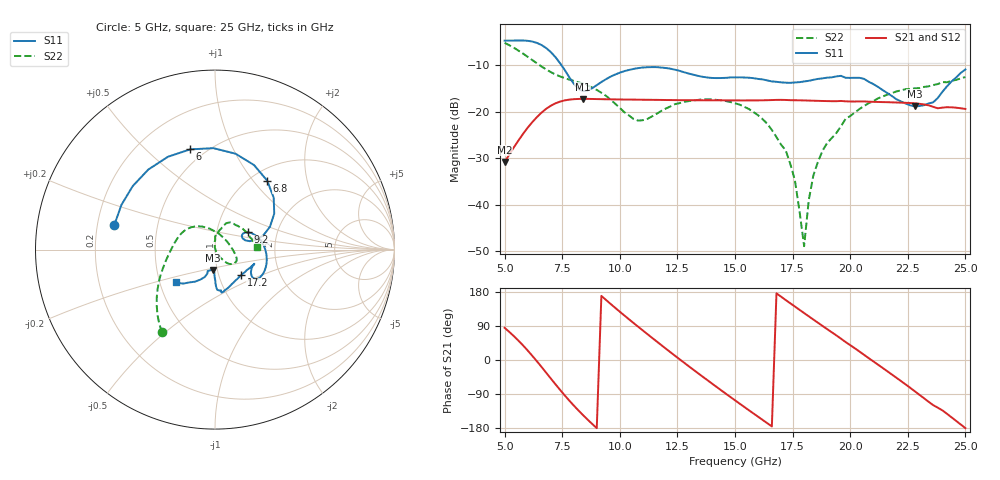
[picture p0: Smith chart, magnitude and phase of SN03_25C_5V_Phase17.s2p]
!File name = SN03_25C_5V_Phase17.s2p
!Date = 2/3/2014
!Time = 2:35 PM
!Test duration(min) = 0.07
!Test = SPars
!MPTS version = 7.120.8
!Comments =
!set_LD1(binary) = 17
!set_LD2(binary) = 524270
!test = SPars
!date_code = 20140203
!file_name = SN03_25C_5V_Phase17.s2p
!VREF(V) = 5.000
!VREF(mA) = 0.001
# GHz  S  DB  R  50
!%	Freq(GHz)  S11(dB)  S11(deg)  S21(dB)  S21(deg)  S12(dB)  S12(deg)  S22(dB)  S22(deg)
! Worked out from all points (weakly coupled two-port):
!   101 points, 5 GHz to 25 GHz, reference 50 ohm
!   highest |S21| = -17.27 dB at 8.4 GHz (marker M1); lowest = -30.9 dB at 5 GHz (marker M2)
!   lowest |S11| = -18.9 dB at 22.8 GHz (marker M3), VSWR 1.26, Z = 47.6 - j10.9 ohm
!   |S11| at or under -10 dB: 7.461 GHz to end of sweep
!   |S22| runs from -48.9 to -5.2 dB; largest |S21 - S12| = 0.00051
!   S11 on the Smith chart (normalised r, x): 5 GHz: 0.27, +0.11; 6 GHz: 0.42, +0.69; 6.8 GHz: 1.18, +1.18; 9.2 GHz: 1.42, +0.29; 17.2 GHz: 1.28, -0.38; 25 GHz: 0.61, -0.24
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5  -4.77 166.1  -30.85 84.9  -30.87 84.9  -5.24 -122.7
6  -4.80 104.0  -23.48 25.1  -23.49 25.1  -8.23 -145.5
6.8  -6.34 52.9  -19.42 -33.3  -19.45 -33.2  -10.94 -166.4
7.6  -11.00 16.5  -17.61 -92.7  -17.63 -92.6  -12.80 171.0
8.4  -15.61 22.5  -17.27 -145.2  -17.30 -145.1  -14.01 147.5
9.2  -13.65 27.6  -17.34 169.2  -17.36 169.3  -15.95 125.6
10.8  -10.66 -10.0  -17.45 87.7  -17.46 87.7  -21.94 47.9
11.8  -10.55 -29.7  -17.50 39.4  -17.52 39.4  -19.87 -2.7
13.6  -12.54 -32.1  -17.57 -44.1  -17.58 -44.2  -17.36 -26.7
15  -12.67 -20.0  -17.60 -106.3  -17.61 -106.4  -18.22 -40.6
16.2  -13.10 -26.6  -17.58 -158.2  -17.60 -158.1  -21.64 -50.9
17.2  -13.79 -44.2  -17.51 158.2  -17.53 158.3  -28.32 -55.2
17.6  -13.75 -52.5  -17.57 141.1  -17.58 141.1  -34.77 -60.8
18  -13.53 -60.5  -17.61 123.9  -17.63 123.9  -48.92 51.4
18.2  -13.39 -64.2  -17.64 115.3  -17.66 115.4  -39.08 96.4
18.4  -13.18 -67.5  -17.67 106.8  -17.69 106.8  -33.74 93.7
18.8  -12.86 -72.7  -17.73 89.9  -17.74 89.9  -28.40 91.4
19.8  -12.74 -81.9  -17.80 47.4  -17.81 47.5  -21.57 86.8
21.8  -16.63 -90.9  -18.02 -37.9  -18.03 -37.9  -16.05 67.4
22.8  -18.88 -96.2  -18.22 -82.3  -18.23 -82.3  -15.01 53.7
23.6  -18.02 -108.9  -18.99 -119.0  -19.00 -119.0  -14.30 37.6
25  -10.96 -139.7  -19.44 -179.7  -19.46 -179.7  -12.59 4.0
